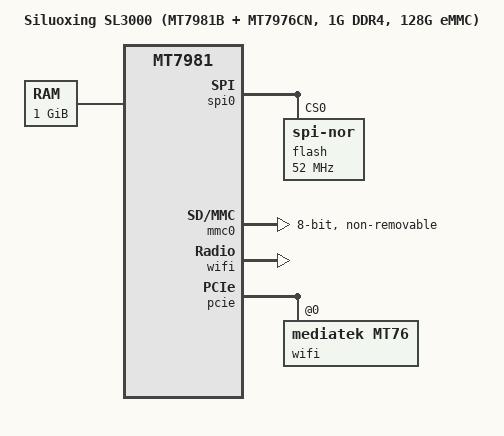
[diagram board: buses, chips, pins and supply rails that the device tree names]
// target/linux/mediatek/dts/mt7981b-sl3000-emmc.dts

/dts-v1/;
#include "mt7981.dtsi"

/ {
    compatible = "siluoxing,sl3000-emmc", "mediatek,mt7981";
    model = "Siluoxing SL3000 (MT7981B + MT7976CN, 1G DDR4, 128G eMMC)";

    memory {
        device_type = "memory";
        reg = <0x40000000 0x40000000>; // 1GB DDR4
    };

    chosen {
        stdout-path = &uart0;
        bootargs = "console=ttyS0,115200n8";
    };
};

/* SPI NOR 32MB: W25Q256FSSIG */
&spi0 {
    status = "okay";

    flash@0 {
        compatible = "jedec,spi-nor";
        reg = <0>;
        spi-max-frequency = <52000000>;
        #address-cells = <1>;
        #size-cells = <1>;
        // 分区布局根据你现有 23.05 DTS 的分区来迁移
    };
};

/* 128GB eMMC: HSEMSDS7D2B128G */
&mmc0 {
    bus-width = <8>;
    max-frequency = <200000000>;
    cap-mmc-highspeed;
    non-removable;
    status = "okay";

    /* 分区采用 GPT，由 24.10 的 image 构建生成 */
};

/* 内置 WiFi (MT7981) */
&wifi {
    status = "okay";
};

/* 外挂 5G: MT7976CN，PCIe 或 SDIO 视你硬件而定。

   如果是 PCIe 5G：
*/
&pcie {
    status = "okay";

    wifi@0,0 {
        compatible = "mediatek,mt76";
        reg = <0 0 0 0 0>;
        /* 这里具体参数可以参考 cmcc_rax3000m 的 DTS */
    };
};
